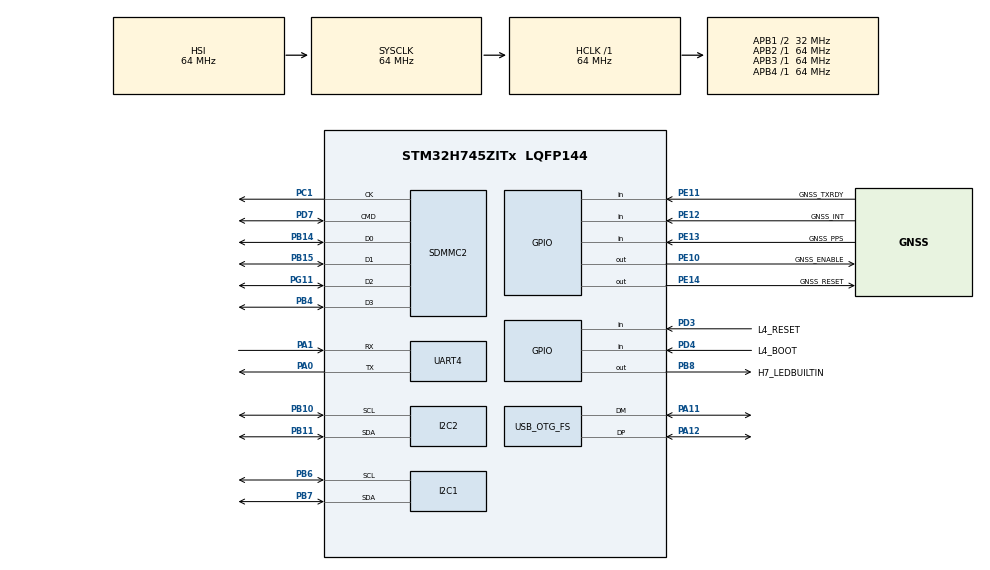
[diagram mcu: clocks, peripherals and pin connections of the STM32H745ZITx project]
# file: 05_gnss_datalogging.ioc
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CORTEX_M7.default_mode_Activation=1
CortexM4.IPs=CORTEX_M4\:I,FATFS_M4\:I,FREERTOS_M4\:I,IWDG2\:I,OPENAMP_M4\:I,PDM2PCM_M4\:I,PWR,RCC,RESMGR_UTILITY,SYS_M4\:I,USB_DEVICE_M4\:I,USB_HOST_M4\:I,VREFBUF,WWDG2\:I,GPIO,DMA,BDMA,MDMA,NVIC2\:I
CortexM7.IPs=CORTEX_M7\:I,FATFS_M7\:I,FREERTOS_M7\:I,IWDG1\:I,OPENAMP_M7\:I,PDM2PCM_M7\:I,PWR\:I,RCC\:I,RESMGR_UTILITY\:I,SYS\:I,USB_DEVICE_M7\:I,USB_HOST_M7\:I,VREFBUF\:I,WWDG1\:I,GPIO\:I,DMA\:I,BDMA\:I,MDMA\:I,NVIC1\:I,DEBUG\:I,I2C1\:I,I2C2\:I,UART4\:I,USB_OTG_FS\:I,SDMMC2\:I
CortexM7.Pins=PE10,PE11,PE12,PE13,PE14,PD3,PD4,PB8
FATFS_M7.USE_DMA_CODE_SD=1
I2C1.Timing=0x00707CBB
I2C2.Timing=0x00707CBB
Mcu.Family=STM32H7
Mcu.Name=STM32H745ZITx
Mcu.Package=LQFP144
NVIC1.OTG_FS_IRQn=true\:0\:0\:false\:false\:true\:false\:true\:true
NVIC1.PriorityGroup=NVIC_PRIORITYGROUP_4
NVIC2.PriorityGroup=NVIC_PRIORITYGROUP_4
PA0.Mode=Asynchronous
PA0.PinAttribute=CortexM7
PA0.Signal=UART4_TX
PA1.Mode=Asynchronous
PA1.PinAttribute=CortexM7
PA1.Signal=UART4_RX
PA11.Mode=Device_Only
PA11.PinAttribute=CortexM7
PA11.Signal=USB_OTG_FS_DM
PA12.Mode=Device_Only
PA12.PinAttribute=CortexM7
PA12.Signal=USB_OTG_FS_DP
PA13\ (JTMS/SWDIO).Mode=Serial_Wire
PA13\ (JTMS/SWDIO).PinAttribute=CortexM7
PA13\ (JTMS/SWDIO).Signal=DEBUG_JTMS-SWDIO
PA14\ (JTCK/SWCLK).Mode=Serial_Wire
PA14\ (JTCK/SWCLK).PinAttribute=CortexM7
PA14\ (JTCK/SWCLK).Signal=DEBUG_JTCK-SWCLK
PB10.Mode=I2C
PB10.PinAttribute=CortexM7
PB10.Signal=I2C2_SCL
PB11.Mode=I2C
PB11.PinAttribute=CortexM7
PB11.Signal=I2C2_SDA
PB14.GPIO_PuPd=GPIO_PULLUP
PB14.Mode=SD_4_bits_Wide_bus
PB14.PinAttribute=CortexM7
PB14.Signal=SDMMC2_D0
PB15.GPIO_PuPd=GPIO_PULLUP
PB15.Mode=SD_4_bits_Wide_bus
PB15.PinAttribute=CortexM7
PB15.Signal=SDMMC2_D1
PB4\ (NJTRST).GPIO_PuPd=GPIO_PULLUP
PB4\ (NJTRST).Mode=SD_4_bits_Wide_bus
PB4\ (NJTRST).PinAttribute=CortexM7
PB4\ (NJTRST).Signal=SDMMC2_D3
PB6.Mode=I2C
PB6.PinAttribute=CortexM7
PB6.Signal=I2C1_SCL
PB7.Mode=I2C
PB7.PinAttribute=CortexM7
PB7.Signal=I2C1_SDA
PB8.GPIO_Label=H7_LEDBUILTIN
PB8.PinAttribute=CortexM7
PB8.PinState=GPIO_PIN_RESET
PB8.Signal=GPIO_Output
PC1.Mode=SD_4_bits_Wide_bus
PC1.PinAttribute=CortexM7
PC1.Signal=SDMMC2_CK
PC14-OSC32_IN\ (OSC32_IN).Mode=LSE-External-Clock-Source
PC14-OSC32_IN\ (OSC32_IN).PinAttribute=Free
PC14-OSC32_IN\ (OSC32_IN).Signal=RCC_OSC32_IN
PD3.GPIO_Label=L4_RESET
PD3.GPIO_PuPd=GPIO_PULLDOWN
PD3.PinAttribute=CortexM7
PD3.Signal=GPIO_Input
PD4.GPIO_Label=L4_BOOT
PD4.GPIO_PuPd=GPIO_NOPULL
PD4.PinAttribute=CortexM7
PD4.Signal=GPIO_Input
PD7.GPIO_PuPd=GPIO_PULLUP
PD7.Mode=SD_4_bits_Wide_bus
PD7.PinAttribute=CortexM7
PD7.Signal=SDMMC2_CMD
PE10.GPIO_Label=GNSS_ENABLE
PE10.PinAttribute=CortexM7
PE10.Signal=GPIO_Output
PE11.GPIO_Label=GNSS_TXRDY
PE11.PinAttribute=CortexM7
PE11.Signal=GPIO_Input
PE12.GPIO_Label=GNSS_INT
PE12.PinAttribute=CortexM7
PE12.Signal=GPIO_Input
PE13.GPIO_Label=GNSS_PPS
PE13.PinAttribute=CortexM7
PE13.Signal=GPIO_Input
PE14.GPIO_Label=GNSS_RESET
PE14.GPIO_PuPd=GPIO_PULLUP
PE14.PinAttribute=CortexM7
PE14.Signal=GPIO_Output
PG11.GPIO_PuPd=GPIO_PULLUP
PG11.Mode=SD_4_bits_Wide_bus
PG11.PinAttribute=CortexM7
PG11.Signal=SDMMC2_D2
PH0-OSC_IN\ (PH0).Mode=HSE-External-Clock-Source
PH0-OSC_IN\ (PH0).PinAttribute=Free
PH0-OSC_IN\ (PH0).Signal=RCC_OSC_IN
ProjectManager.HeapSize=M4-0x200,M7-0x200
ProjectManager.StackSize=M4-0x400,M7-0x400
ProjectManager.TargetToolchain=CMake
RCC.ADCFreq_Value=50390625
RCC.APB1Freq_Value=32000000
RCC.APB2Freq_Value=64000000
RCC.APB3Freq_Value=64000000
RCC.APB4Freq_Value=64000000
RCC.CortexFreq_Value=64000000
RCC.D2PPRE1=RCC_APB1_DIV2
RCC.DIVM1=2
RCC.DIVN1=12
RCC.DIVQ1=3
RCC.HCLKFreq_Value=64000000
RCC.PLL2FRACN=0
RCC.PLL3FRACN=0
RCC.PLLFRACN=0
RCC.SYSCLKFreq_VALUE=64000000
RCC.USBFreq_Value=50000000
SDMMC2.ClockDiv=8
SYS.userName=SYS_M7
USB_DEVICE_M7.CLASS_NAME_FS=CDC
USB_DEVICE_M7.VirtualMode-CDC_FS=Cdc
USB_DEVICE_M7.VirtualModeFS=Cdc_FS
USB_OTG_FS.VirtualMode=Device_Only
VP_FATFS_M7_VS_SDIO.Mode=SDIO
VP_SYS_M4_VS_Systick.Mode=SysTick
VP_USB_DEVICE_M7_VS_USB_DEVICE_CDC_FS.Mode=CDC_FS
board=custom

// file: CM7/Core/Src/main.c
/* USER CODE BEGIN Header */
/**
  ******************************************************************************
  * @file           : main.c
  * @brief          : Main program body
  ******************************************************************************
  * @attention
  *
  * Copyright (c) 2025 STMicroelectronics.
  * All rights reserved.
  *
  * This software is licensed under terms that can be found in the LICENSE file
  * in the root directory of this software component.
  * If no LICENSE file comes with this software, it is provided AS-IS.
  *
  ******************************************************************************
  */
/* USER CODE END Header */
#include "main.h"
#include "fatfs.h"
#include "usb_device.h"

/* USER CODE BEGIN Includes */
#include "usbd_cdc_if.h"
#include "usb2422.h"
#include "usb2422_platform.h"
#include "zedf9p.h"
#include "zedf9p_platform.h"

/* USER CODE END Includes */

/* USER CODE BEGIN PD */

/* DUAL_CORE_BOOT_SYNC_SEQUENCE: Define for dual core boot synchronization    */
/*                             demonstration code based on hardware semaphore */
/* This define is present in both CM7/CM4 projects                            */
/* To comment when developping/debugging on a single core                     */
#define DUAL_CORE_BOOT_SYNC_SEQUENCE

#if defined(DUAL_CORE_BOOT_SYNC_SEQUENCE)
#ifndef HSEM_ID_0
#define HSEM_ID_0 (0U) /* HW semaphore 0*/
#endif
#endif /* DUAL_CORE_BOOT_SYNC_SEQUENCE */

#define LOG_FILENAME_PREFIX "GNSS"
#define LOG_FILENAME_EXTENSION ".ubx"
#define MAX_LOG_FILE_SIZE_MB 100
#define FLUSH_INTERVAL_MS 5000
#define PROCESS_BUFFER_SIZE 1024
#define USB_DEBUG_BUFFER_SIZE 512

#define ZEDF9P_I2C &hi2c2
#define ZEDF9P_UART &huart4

#define USB2422_I2C &hi2c1

/* USER CODE END PD */

/* USER CODE BEGIN PM */
bool zedf9p_use_i2c = false; // Set to false to use UART instead

/* USER CODE END PM */

I2C_HandleTypeDef hi2c1;
I2C_HandleTypeDef hi2c2;

SD_HandleTypeDef hsd2;

UART_HandleTypeDef huart4;

/* USER CODE BEGIN PV */
FIL dataFile;
zedf9p_t gnss_module;

// Buffers
uint8_t process_buffer[PROCESS_BUFFER_SIZE];
char filename[32];
char debug_buffer[USB_DEBUG_BUFFER_SIZE];

// USB instances
usb2422_t usb_hub;

logging_stats_t logging_stats = {0};
gnss_time_t gnss_time = {0};

usb2422_hub_settings_t hub_settings = {0};
usb2422_power_settings_t power_settings = {0};
usb2422_downstream_port_settings_t port_settings = {false};
usb2422_cfg_regs_t config_registers = {0};

/* USER CODE END PV */

void SystemClock_Config(void);
static void MPU_Config(void);
static void MX_GPIO_Init(void);
static void MX_I2C1_Init(void);
static void MX_I2C2_Init(void);
static void MX_SDMMC2_SD_Init(void);
static void MX_UART4_Init(void);

/* USER CODE BEGIN PFP */
uint8_t init_sd_card(void);
uint8_t create_new_log_file(void);
uint8_t recover_sd_card(void);
uint8_t reopen_log_file(void);

void configure_gnss_for_logging(void);
void process_gnss_logging(void);
void print_statistics(void);
// void usb_debug_print(const char *message);
void update_gnss_time_from_timeutc(const zedf9p_nav_timeutc_t *timeutc);

// Message callbacks
void clock_callback(const ubx_message_t *message, void *user_data);
void hpposecef_callback(const ubx_message_t *message, void *user_data);
void hpposllh_callback(const ubx_message_t *message, void *user_data);
void timeutc_callback(const ubx_message_t *message, void *user_data);
void rawx_callback(const ubx_message_t *message, void *user_data);
void sfrbx_callback(const ubx_message_t *message, void *user_data);

/* USER CODE END PFP */

/* USER CODE BEGIN 0 */
uint8_t init_sd_card(void) {
    usb_debug_print("Initializing SD card...\r\n");

    // Multiple hardware initialization attempts
    for (int attempt = 0; attempt < 3; attempt++) {
        HAL_Delay(100 * (attempt + 1)); // Increasing delay between attempts

        snprintf(debug_buffer, sizeof(debug_buffer),
                "SD hardware init attempt %d...\r\n", attempt + 1);
        usb_debug_print(debug_buffer);

        // Try to initialize SD hardware
        const HAL_StatusTypeDef hal_result = HAL_SD_Init(&hsd2);
        if (hal_result != HAL_OK) {
            snprintf(debug_buffer, sizeof(debug_buffer),
                    "HAL_SD_Init failed with code: %d\r\n", hal_result);
            usb_debug_print(debug_buffer);
            continue;
        }

        // Check if card is ready
        const HAL_SD_CardStateTypeDef cardState = HAL_SD_GetCardState(&hsd2);
        snprintf(debug_buffer, sizeof(debug_buffer),
                "SD card state: %lu\r\n", cardState);
        usb_debug_print(debug_buffer);

        if (cardState == HAL_SD_CARD_TRANSFER) {
            usb_debug_print("SD card hardware ready\r\n");
            break;
        }

        if (attempt == 2) {
            usb_debug_print("SD card hardware initialization failed after 3 attempts\r\n");
            return 0;
        }
    }

    // Wait before filesystem operations
    HAL_Delay(500);

    // Try to mount the filesystem
    usb_debug_print("Attempting to mount filesystem...\r\n");
    FRESULT result = f_mount(&SDFatFS, SDPath, 1);

    if (result != FR_OK) {
        snprintf(debug_buffer, sizeof(debug_buffer),
                "Initial SD mount failed: %d\r\n", result);
        usb_debug_print(debug_buffer);

        // Try formatting the card if mount fails
        usb_debug_print("Attempting to format SD card as FAT32...\r\n");
        BYTE work[_MAX_SS]; // Work area for f_mkfs
        result = f_mkfs(SDPath, FM_FAT32, 0, work, sizeof(work));

        if (result == FR_OK) {
            usb_debug_print("SD card formatted successfully\r\n");
            HAL_Delay(100);

            // Try mounting again after format
            result = f_mount(&SDFatFS, SDPath, 1);
            if (result != FR_OK) {
                snprintf(debug_buffer, sizeof(debug_buffer),
                        "Mount failed after format: %d\r\n", result);
                usb_debug_print(debug_buffer);
                return 0;
            }
        } else {
            snprintf(debug_buffer, sizeof(debug_buffer),
                    "Format failed: %d\r\n", result);
            usb_debug_print(debug_buffer);
            return 0;
        }
    }

    usb_debug_print("Filesystem mounted successfully\r\n");

    // Get detailed SD card and filesystem information
    DWORD free_clusters;
    FATFS* fs;
    result = f_getfree(SDPath, &free_clusters, &fs);
    if (result == FR_OK) {
        const DWORD total_clusters = (fs->n_fatent - 2) * fs->csize;
        const uint32_t total_mb = total_clusters / 2048;
        const uint32_t free_mb = free_clusters * fs->csize / 2048;

        snprintf(debug_buffer, sizeof(debug_buffer),
                "SD Card: %lu MB total, %lu MB free\r\n", total_mb, free_mb);
        usb_debug_print(debug_buffer);

        snprintf(debug_buffer, sizeof(debug_buffer),
                "Filesystem: FAT%d, Sector size: %d, Cluster size: %d\r\n",
                fs->fs_type, _MAX_SS, fs->csize * _MAX_SS);
        usb_debug_print(debug_buffer);
    } else {
        snprintf(debug_buffer, sizeof(debug_buffer),
                "Failed to get filesystem info: %d\r\n", result);
        usb_debug_print(debug_buffer);
        return 0;
    }

    logging_stats.sd_card_present = 1;
    usb_debug_print("SD card initialization completed successfully\r\n");
    return 1;
}

uint8_t create_new_log_file(void) {
    if (!logging_stats.sd_card_present) {
        return 0;
    }

    // Close existing file
    if (logging_stats.file_open) {
        f_close(&dataFile);
        logging_stats.file_open = 0;
    }

    // Find next available filename
    FRESULT result;
    do {
        logging_stats.file_number++;
        snprintf(filename, sizeof(filename), "%s%03lu%s",
                LOG_FILENAME_PREFIX, logging_stats.file_number, LOG_FILENAME_EXTENSION);

        // Check if file exists
        result = f_stat(filename, NULL);
    } while (result == FR_OK); // Continue if file exists

    // Create new file
    result = f_open(&dataFile, filename, FA_CREATE_NEW | FA_WRITE);
    if (result != FR_OK) {
        snprintf(debug_buffer, sizeof(debug_buffer),
                "ERROR: Failed to create file %s: %d\r\n", filename, result);
        usb_debug_print(debug_buffer);
        logging_stats.file_open = 0;
        return 0;
    }

    logging_stats.file_open = 1;
    logging_stats.write_errors = 0; // Reset error count on new file

    snprintf(debug_buffer, sizeof(debug_buffer),
            "Created log file: %s\r\n", filename);
    usb_debug_print(debug_buffer);

    return 1;
}

uint8_t recover_sd_card(void) {
    usb_debug_print("Attempting SD card recovery...\r\n");

    logging_stats.recovery_attempts++;

    // Try to unmount and remount the SD card
    f_mount(NULL, SDPath, 0); // Unmount
    HAL_Delay(500); // Wait a bit

    const FRESULT result = f_mount(&SDFatFS, SDPath, 1); // Remount
    if (result != FR_OK) {
        snprintf(debug_buffer, sizeof(debug_buffer),
                "SD card remount failed: %d\r\n", result);
        usb_debug_print(debug_buffer);
        logging_stats.sd_card_present = 0;
        return 0;
    }

    logging_stats.sd_card_present = 1;
    usb_debug_print("SD card recovery successful\r\n");
    return 1;
}

uint8_t reopen_log_file(void) {
    if (!logging_stats.sd_card_present) {
        return 0;
    }

    // Try to reopen the existing file in append mode
    const FRESULT result = f_open(&dataFile, filename, FA_OPEN_APPEND | FA_WRITE);
    if (result == FR_OK) {
        logging_stats.file_open = 1;
        logging_stats.write_errors = 0; // Reset error count
        usb_debug_print("Successfully reopened log file\r\n");
        return 1;
    } else {
        snprintf(debug_buffer, sizeof(debug_buffer),
                "Failed to reopen file %s: %d\r\n", filename, result);
        usb_debug_print(debug_buffer);

        // If we can't reopen, try creating a new file
        return create_new_log_file();
    }
}

void configure_gnss_for_logging(void) {
    usb_debug_print("Configuring GNSS for RAWX, HPPOSLLH, & PVT logging...\r\n");

    // Set measurement rate to 1Hz
    zedf9p_set_measurement_rate(&gnss_module, UBLOX_CFG_LAYER_RAM, 5000, 1);

    // Configure GPS + Galileo for optimal RAWX data
    const zedf9p_gnss_config_t gnss_config = {
        .beidou_enabled = false,
        .beidou_b1_enabled = false,
        .beidou_b2_enabled = false,
        .galileo_enabled = true,
        .galileo_e1_enabled = true,
        .galileo_e5b_enabled = true,
        .glonass_enabled = false,
        .glonass_l1_enabled = false,
        .glonass_l2_enabled = false,
        .gps_enabled = true,
        .gps_l1ca_enabled = true,
        .gps_l2c_enabled = true,
        .qzss_enabled = false,
        .qzss_l1ca_enabled = false,
        .qzss_l1s_enabled = false,
        .qzss_l2c_enabled = false,
        .sbas_enabled = false,
        .sbas_l1ca_enabled = false
    };

    zedf9p_config_gnss_signals(&gnss_module, UBLOX_CFG_LAYER_RAM, &gnss_config);

    // Disable 7F check for RAWX compatibility
    //zedf9p_disable_7f_check(&gnss_module, true);

    // Enable UBX messages we want to log
    zedf9p_set_message_rate(&gnss_module, UBLOX_CFG_LAYER_RAM, UBX_CLASS_NAV, UBX_NAV_CLOCK, 5);        // NAV-CLOCK
    zedf9p_set_message_rate(&gnss_module, UBLOX_CFG_LAYER_RAM, UBX_CLASS_NAV, UBX_NAV_HPPOSECEF, 5);    // NAV-HPPOSECEF
    zedf9p_set_message_rate(&gnss_module, UBLOX_CFG_LAYER_RAM, UBX_CLASS_NAV, UBX_NAV_HPPOSLLH, 5);     // NAV-HPPOSLLH
    zedf9p_set_message_rate(&gnss_module, UBLOX_CFG_LAYER_RAM, UBX_CLASS_NAV, UBX_NAV_TIMEUTC, 5);      // NAV-TIMEUTC
    zedf9p_set_message_rate(&gnss_module, UBLOX_CFG_LAYER_RAM, UBX_CLASS_RXM, UBX_RXM_RAWX, 5);         // RXM-RAWX
    zedf9p_set_message_rate(&gnss_module, UBLOX_CFG_LAYER_RAM, UBX_CLASS_RXM, UBX_RXM_SFRBX, 5);        // RXM-SFRBX

    HAL_Delay(2000); // Wait for configuration to take effect
    usb_debug_print("GNSS configured for RAWX + HPPOSLLH + PVT logging\r\n");
}

void process_gnss_logging(void) {
    if (!logging_stats.logging_active) {
        return;
    }

    // Process incoming GNSS data
    const zedf9p_status_t status = zedf9p_process_data(&gnss_module);
    if (status != ZEDF9P_OK && status != ZEDF9P_ERR_NO_DATA) {
        snprintf(debug_buffer, sizeof(debug_buffer),
                "GNSS processing error: %s\r\n", zedf9p_status_error(status));
        usb_debug_print(debug_buffer);
    }

    // Handle SD card errors and recovery
    if (logging_stats.write_errors > 3) {  // Lower threshold for quicker recovery
        usb_debug_print("Multiple write errors detected, attempting recovery...\r\n");

        // First try to reopen the file
        if (!reopen_log_file()) {
            // If that fails, try SD card recovery
            if (recover_sd_card()) {
                if (!reopen_log_file()) {
                    // Last resort - create new file
                    create_new_log_file();
                }
            } else {
                // SD card recovery failed, pause logging temporarily
                logging_stats.logging_active = 0;
                usb_debug_print("SD card recovery failed, logging paused\r\n");
                return;
            }
        }
    }

    // Try to restart logging if it was paused due to SD card issues
    if (!logging_stats.logging_active && logging_stats.recovery_attempts < 10) {
        if (recover_sd_card() && create_new_log_file()) {
            logging_stats.logging_active = 1;
            usb_debug_print("Logging resumed after recovery\r\n");
        }
    }

    // Check file size limit and rotate if needed
    if (logging_stats.sd_card_present && logging_stats.file_open &&
        f_size(&dataFile) > (MAX_LOG_FILE_SIZE_MB * 1024UL * 1024UL)) {

        snprintf(debug_buffer, sizeof(debug_buffer),
                "File size limit reached, creating new file...\r\n");
        usb_debug_print(debug_buffer);

        if (logging_stats.file_open) {
            f_close(&dataFile);
            logging_stats.file_open = 0;
        }

        if (!create_new_log_file()) {
            usb_debug_print("ERROR: Failed to create new log file\r\n");
            logging_stats.logging_active = 0;
        }
    }
}

// Generic function to write any UBX message to file
void write_ubx_message_to_file(const ubx_message_t *message) {
    if (!logging_stats.sd_card_present || !logging_stats.logging_active || !logging_stats.file_open) {
        return;
    }

    // Build complete UBX message with header and checksum
    uint8_t ubx_header[6];
    ubx_header[0] = 0xB5; // UBX_SYNCH_1
    ubx_header[1] = 0x62; // UBX_SYNCH_2
    ubx_header[2] = message->msg_class;
    ubx_header[3] = message->msg_id;
    ubx_header[4] = (uint8_t)(message->length & 0xFF);
    ubx_header[5] = (uint8_t)((message->length >> 8) & 0xFF);

    // Calculate checksum for the complete message
    uint8_t ck_a = 0, ck_b = 0;
    for (int i = 2; i < 6; i++) { // Class, ID, Length
        ck_a += ubx_header[i];
        ck_b += ck_a;
    }
    for (uint16_t i = 0; i < message->length; i++) { // Payload
        ck_a += message->payload[i];
        ck_b += ck_a;
    }

    const uint8_t checksum[2] = {ck_a, ck_b};

    // Write header
    UINT bytes_written;
    FRESULT result = f_write(&dataFile, ubx_header, 6, &bytes_written);
    if (result != FR_OK || bytes_written != 6) {
        logging_stats.write_errors++;
        return;
    }

    // Write payload
    if (message->length > 0) {
        result = f_write(&dataFile, message->payload, message->length, &bytes_written);
        if (result != FR_OK || bytes_written != message->length) {
            logging_stats.write_errors++;
            return;
        }
    }

    // Write checksum
    result = f_write(&dataFile, checksum, 2, &bytes_written);
    if (result != FR_OK || bytes_written != 2) {
        logging_stats.write_errors++;
        return;
    }

    // Update statistics
    logging_stats.bytes_logged += 6 + message->length + 2; // Header + payload + checksum
    logging_stats.messages_logged++;

    // Reset write error count on successful write
    if (logging_stats.write_errors > 0) {
        logging_stats.write_errors = 0;
    }
}

// Message callback implementations
void clock_callback(const ubx_message_t *message, void *user_data) {
    (void)user_data; // Unused parameter

    write_ubx_message_to_file(message);
    logging_stats.clock_count++;

    // Optional: Print some debug info about the clock message
    if (logging_stats.usb_ready && message->length >= sizeof(zedf9p_nav_clock_t)) {
        zedf9p_nav_clock_t clock;
        memcpy(&clock, message->payload, sizeof(zedf9p_nav_clock_t));

        snprintf(debug_buffer, sizeof(debug_buffer),
                "CLOCK: iTOW=%lu ClkB=%ld ClkD=%ld TAcc=%lu\r\n",
                clock.i_tow, clock.clk_b, clock.clk_d, clock.t_acc);
        usb_debug_print(debug_buffer);
    }
}

void hpposecef_callback(const ubx_message_t *message, void *user_data) {
    (void)user_data; // Unused parameter

    write_ubx_message_to_file(message);
    logging_stats.hpposecef_count++;

    // Optional: Print some debug info
    if (logging_stats.usb_ready && message->length >= sizeof(zedf9p_nav_hpposecef_t)) {
        zedf9p_nav_hpposecef_t hppos;
        memcpy(&hppos, message->payload, sizeof(zedf9p_nav_hpposecef_t));

        snprintf(debug_buffer, sizeof(debug_buffer),
                "HPPOSECEF: iTOW=%lu X=%ld Y=%ld Z=%ld PAcc=%lu\r\n",
                hppos.i_tow, hppos.ecef_x, hppos.ecef_y, hppos.ecef_z, hppos.p_acc);
        usb_debug_print(debug_buffer);
    }
}

void hpposllh_callback(const ubx_message_t *message, void *user_data) {
    (void)user_data; // Unused parameter

    write_ubx_message_to_file(message);
    logging_stats.hpposllh_count++;
}

void timeutc_callback(const ubx_message_t *message, void *user_data) {
    (void)user_data; // Unused parameter

    write_ubx_message_to_file(message);
    logging_stats.timeutc_count++;

    // Update GNSS time from this message
    if (message->length >= sizeof(zedf9p_nav_timeutc_t)) {
        zedf9p_nav_timeutc_t timeutc;
        memcpy(&timeutc, message->payload, sizeof(zedf9p_nav_timeutc_t));
        update_gnss_time_from_timeutc(&timeutc);
    }
}

void rawx_callback(const ubx_message_t *message, void *user_data) {
    (void)user_data; // Unused parameter

    write_ubx_message_to_file(message);
    logging_stats.rawx_count++;

    // Optional: Print debug info about RAWX message
    if (logging_stats.usb_ready && message->length >= 16) {
        zedf9p_rawx_t rawx;
        memcpy(&rawx, message->payload, sizeof(zedf9p_rawx_t));

        // Print header information
        snprintf(debug_buffer, sizeof(debug_buffer),
                "RAWX: rcTow=%.3f week=%u numMeas=%u recStat=0x%02X\r\n",
                rawx.rc_tow, rawx.week, rawx.num_meas, rawx.rec_stat);
        usb_debug_print(debug_buffer);

        // Print first few satellite measurements as examples (limit to 3 to avoid flooding)
        const uint8_t num_to_print = (rawx.num_meas < 3) ? rawx.num_meas : 3;
        for (uint8_t i = 0; i < num_to_print; i++) {
            const zedf9p_rawx_meas_t *meas = &rawx.meas[i];

            // Determine GNSS system name
            const char* gnss_name = "UNK";
            switch (meas->gnss_id) {
            case 0: gnss_name = "GPS"; break;
            case 1: gnss_name = "SBA"; break;
            case 2: gnss_name = "GAL"; break;
            case 3: gnss_name = "BDS"; break;
            case 5: gnss_name = "QZS"; break;
            case 6: gnss_name = "GLO"; break;
            }

            snprintf(debug_buffer, sizeof(debug_buffer),
                    "  [%u] %s SV=%u sig=%u PR=%.3fm CP=%.3fcyc Dopp=%.2fHz CNO=%udBHz LT=%ums\r\n",
                    i, gnss_name, meas->sv_id, meas->sig_id,
                    meas->pr_mes, meas->cp_mes, meas->do_mes,
                    meas->cno, meas->lock_time);
            usb_debug_print(debug_buffer);
        }

        // If there are more measurements, indicate how many were skipped
        if (rawx.num_meas > num_to_print) {
            snprintf(debug_buffer, sizeof(debug_buffer),
                    "  ... (%u more measurements)\r\n", rawx.num_meas - num_to_print);
            usb_debug_print(debug_buffer);
        }
    }
}

void sfrbx_callback(const ubx_message_t *message, void *user_data) {
    (void)user_data; // Unused parameter

    write_ubx_message_to_file(message);
    logging_stats.sfrbx_count++;

    // // Optional: Print some debug info about SFRBX
    // if (logging_stats.usb_ready && message->length >= sizeof(zedf9p_sfrbx_t)) {
    //     zedf9p_sfrbx_t sfrbx;
    //     memcpy(&sfrbx, message->payload, sizeof(zedf9p_sfrbx_t));
    //
    //     snprintf(debug_buffer, sizeof(debug_buffer),
    //             "SFRBX: GNSS=%d SV=%d NumWords=%d Chn=%d\r\n",
    //             sfrbx.gnss_id, sfrbx.sv_id, sfrbx.num_words, sfrbx.chn);
    //     usb_debug_print(debug_buffer);
    // }
}

void usb_debug_print(const char* message) {
    if (logging_stats.usb_ready && message != NULL) {
        const uint16_t len = strlen(message);
        if (len > 0) {
            // Use CDC_Transmit_FS function to send data via USB CDC
            CDC_Transmit_FS((uint8_t*)message, len);

            // Small delay to prevent overwhelming USB
            HAL_Delay(1);
        }
    }
}

void print_statistics(void) {
    const uint32_t uptime_s = (HAL_GetTick() - logging_stats.session_start_ms) / 1000;
    uint32_t data_rate = 0;

    if (uptime_s > 0) {
        data_rate = logging_stats.bytes_logged / uptime_s;
    }

    snprintf(debug_buffer, sizeof(debug_buffer),
            "Stats: Up=%lus Rate=%luB/s Msgs=%lu CLK=%lu HPECEF=%lu HPLLH=%lu UTC=%lu RAWX=%lu SFRBX=%lu Bytes=%lu Err=%lu\r\n",
            uptime_s, data_rate, logging_stats.messages_logged,
            logging_stats.clock_count, logging_stats.hpposecef_count,
            logging_stats.hpposllh_count, logging_stats.timeutc_count,
            logging_stats.rawx_count, logging_stats.sfrbx_count,
            logging_stats.bytes_logged, logging_stats.write_errors);
    usb_debug_print(debug_buffer);

    // Print GNSS time if available
    if (gnss_time.time_available) {
        snprintf(debug_buffer, sizeof(debug_buffer),
                "GNSS Time: %04d-%02d-%02d %02d:%02d:%02d UTC (iTOW: %lu ms)\r\n",
                gnss_time.year, gnss_time.month, gnss_time.day,
                gnss_time.hour, gnss_time.min, gnss_time.sec, gnss_time.i_tow);
        usb_debug_print(debug_buffer);
    }
}

void update_gnss_time_from_timeutc(const zedf9p_nav_timeutc_t *timeutc) {
    if (!timeutc) return;

    gnss_time.i_tow = timeutc->i_tow;
    gnss_time.year = timeutc->year;
    gnss_time.month = timeutc->month;
    gnss_time.day = timeutc->day;
    gnss_time.hour = timeutc->hour;
    gnss_time.min = timeutc->min;
    gnss_time.sec = timeutc->sec;
    gnss_time.valid = timeutc->valid;
    gnss_time.time_available = 1;
}
/* USER CODE END 0 */

int main(void)
{

    /* USER CODE BEGIN Boot_Mode_Sequence_0 */
    #if defined(DUAL_CORE_BOOT_SYNC_SEQUENCE)
      int32_t timeout;
    #endif /* DUAL_CORE_BOOT_SYNC_SEQUENCE */
    /* USER CODE END Boot_Mode_Sequence_0 */

      /* MPU Configuration--------------------------------------------------------*/
      MPU_Config();

    /* USER CODE BEGIN Boot_Mode_Sequence_1 */
    #if defined(DUAL_CORE_BOOT_SYNC_SEQUENCE)
      /* Wait until CPU2 boots and enters in stop mode or timeout*/
      timeout = 0xFFFF;
      while((__HAL_RCC_GET_FLAG(RCC_FLAG_D2CKRDY) != RESET) && (timeout-- > 0));
      if ( timeout < 0 )
      {
      Error_Handler();
      }
    #endif /* DUAL_CORE_BOOT_SYNC_SEQUENCE */
    /* USER CODE END Boot_Mode_Sequence_1 */
      /* MCU Configuration--------------------------------------------------------*/

      /* Reset of all peripherals, Initializes the Flash interface and the Systick. */
      HAL_Init();

      /* Configure the system clock */
      SystemClock_Config();
    /* USER CODE BEGIN Boot_Mode_Sequence_2 */
    #if defined(DUAL_CORE_BOOT_SYNC_SEQUENCE)
    /* When system initialization is finished, Cortex-M7 will release Cortex-M4 by means of
    HSEM notification */
    /*HW semaphore Clock enable*/
    __HAL_RCC_HSEM_CLK_ENABLE();
    /*Take HSEM */
    HAL_HSEM_FastTake(HSEM_ID_0);
    /*Release HSEM in order to notify the CPU2(CM4)*/
    HAL_HSEM_Release(HSEM_ID_0,0);
    /* wait until CPU2 wakes up from stop mode */
    timeout = 0xFFFF;
    while((__HAL_RCC_GET_FLAG(RCC_FLAG_D2CKRDY) == RESET) && (timeout-- > 0));
    if ( timeout < 0 )
    {
    Error_Handler();
    }
    #endif /* DUAL_CORE_BOOT_SYNC_SEQUENCE */
    /* USER CODE END Boot_Mode_Sequence_2 */

    /* Initialize all configured peripherals */
    MX_GPIO_Init();
    MX_I2C1_Init();
    MX_I2C2_Init();
    MX_SDMMC2_SD_Init();
    MX_UART4_Init();
    MX_FATFS_Init();
    MX_USB_DEVICE_Init();

    /* USER CODE BEGIN 2 */
    HAL_GPIO_WritePin(L4_RESET_GPIO_Port, L4_RESET_Pin, GPIO_PIN_RESET); // Set pin low to make sure the reset line stays high
    HAL_GPIO_WritePin(H7_LEDBUILTIN_GPIO_Port, H7_LEDBUILTIN_Pin, GPIO_PIN_SET); // LED on
    HAL_Delay(5000);
    //HAL_GPIO_WritePin(GNSS_ENABLE_GPIO_Port, GNSS_ENABLE_Pin, GPIO_PIN_SET); // Turn on the GNSS load switch

    // Initialize USB hub
    usb2422_platform_set_i2c_handle(USB2422_I2C);

    const usb2422_interface_t io_usb = {
        .i2c_write = platform_i2c_write,
        .i2c_read = platform_i2c_read_reg,
        .delay_ms = platform_delay_ms,
    };

    usb2422_status_t status_usb = usb2422_init(&usb_hub, USB2422_SMBUS_ADDRESS, io_usb);
    if (status_usb != USB2422_OK) {
        while(1) {
            HAL_GPIO_TogglePin(H7_LEDBUILTIN_GPIO_Port, H7_LEDBUILTIN_Pin);
            HAL_Delay(100);
        }
    }

    status_usb = configure_usb2422_for_enumeration(&usb_hub);
    if (status_usb != USB2422_OK) {
        while(1) {
            HAL_GPIO_TogglePin(H7_LEDBUILTIN_GPIO_Port, H7_LEDBUILTIN_Pin);
            HAL_Delay(100);
        }
    }

    status_usb = usb2422_usb_attach_and_protect(&usb_hub, &hub_settings);
    if (status_usb != USB2422_OK) {
        while(1) {
            HAL_GPIO_TogglePin(H7_LEDBUILTIN_GPIO_Port, H7_LEDBUILTIN_Pin);
            HAL_Delay(100);
        }
    }

    logging_stats.usb_ready = 1;

    HAL_Delay(5000);

    usb_debug_print("ZEDF9P GNSS Data Logger\r\n");
    usb_debug_print("=======================\r\n");

    // Initialize SD card with FatFS
    if (!init_sd_card()) {
        usb_debug_print("FATAL: SD card initialization failed!\r\n");
        while(1) {
            HAL_GPIO_TogglePin(H7_LEDBUILTIN_GPIO_Port, H7_LEDBUILTIN_Pin);
            HAL_Delay(500);
        }
    }

    // Initialize GNSS module
    zedf9p_status_t status;
    if (zedf9p_use_i2c) {
        zedf9p_platform_set_i2c_handle(ZEDF9P_I2C);

        const zedf9p_interface_t io = {
            .i2c_write = platform_i2c_write,
            .i2c_read = platform_i2c_read,
            .uart_write = NULL,
            .uart_read = NULL,
            .delay_ms = platform_delay_ms,
            .get_millis = platform_get_millis,
            .debug_print = NULL
        };

        status = zedf9p_init(&gnss_module, ZEDF9P_INTERFACE_I2C, 0x42, io);
        if (status != ZEDF9P_OK) {
            snprintf(debug_buffer, sizeof(debug_buffer),
                    "FATAL: GNSS init failed: %s\r\n", zedf9p_status_error(status));
            usb_debug_print(debug_buffer);
            while(1) {
                HAL_GPIO_TogglePin(H7_LEDBUILTIN_GPIO_Port, H7_LEDBUILTIN_Pin);
                HAL_Delay(100);
            }
        }
    } else {
        zedf9p_platform_set_uart_handle(ZEDF9P_UART);

        const zedf9p_interface_t io = {
            .i2c_write = NULL,
            .i2c_read = NULL,
            .uart_write = platform_uart_write,
            .uart_read = platform_uart_read,
            .delay_ms = platform_delay_ms,
            .get_millis = platform_get_millis,
            .debug_print = NULL
        };

        status = zedf9p_init(&gnss_module, ZEDF9P_INTERFACE_UART, 0, io);
    }

    if (status != ZEDF9P_OK) {
        snprintf(debug_buffer, sizeof(debug_buffer),
                "FATAL: GNSS init failed: %s\r\n", zedf9p_status_error(status));
        usb_debug_print(debug_buffer);
        while(1) {
            HAL_GPIO_TogglePin(H7_LEDBUILTIN_GPIO_Port, H7_LEDBUILTIN_Pin);
            HAL_Delay(100);
        }
    }

    usb_debug_print("GNSS module initialized successfully\r\n");

    // Configure GNSS for logging
    configure_gnss_for_logging();

    // Create initial log file
    if (!create_new_log_file()) {
        usb_debug_print("FATAL: Failed to create log file!\r\n");
        while(1) {
            HAL_GPIO_TogglePin(H7_LEDBUILTIN_GPIO_Port, H7_LEDBUILTIN_Pin);
            HAL_Delay(100);
        }
    }

    // Register message callbacks
    zedf9p_register_clock_callback(&gnss_module, clock_callback, NULL);
    zedf9p_register_hpposecef_callback(&gnss_module, hpposecef_callback, NULL);
    zedf9p_register_hpposllh_callback(&gnss_module, hpposllh_callback, NULL);
    zedf9p_register_timeutc_callback(&gnss_module, timeutc_callback, NULL);
    zedf9p_register_rawx_callback(&gnss_module, rawx_callback, NULL);
    zedf9p_register_sfrbx_callback(&gnss_module, sfrbx_callback, NULL);

    // Initialize logging
    logging_stats.session_start_ms = HAL_GetTick();
    logging_stats.last_flush_ms = HAL_GetTick();
    logging_stats.last_stats_ms = HAL_GetTick();
    logging_stats.logging_active = 1;
    logging_stats.file_open = 1;

    usb_debug_print("Logging started!\r\n");
    usb_debug_print("================\r\n");

    HAL_GPIO_WritePin(H7_LEDBUILTIN_GPIO_Port, H7_LEDBUILTIN_Pin, GPIO_PIN_RESET);

    /* USER CODE END 2 */

    /* Infinite loop */
    while (1)
    {
        // Process GNSS data
        process_gnss_logging();

        // Print statistics every 10 seconds
        if (HAL_GetTick() - logging_stats.last_stats_ms > 10000) {
            print_statistics();
            HAL_GPIO_TogglePin(H7_LEDBUILTIN_GPIO_Port, H7_LEDBUILTIN_Pin); // Blink LED
            logging_stats.last_stats_ms = HAL_GetTick();
        }

        // Periodic flush
        if (HAL_GetTick() - logging_stats.last_flush_ms > FLUSH_INTERVAL_MS) {
            if (logging_stats.sd_card_present && logging_stats.logging_active && logging_stats.file_open) {
                const FRESULT flush_result = f_sync(&dataFile);
                if (flush_result != FR_OK) {
                    snprintf(debug_buffer, sizeof(debug_buffer),
                            "File sync error: %d\r\n", flush_result);
                    usb_debug_print(debug_buffer);
                    logging_stats.write_errors++;
                } else {
                    logging_stats.last_flush_ms = HAL_GetTick();
                }
            }
        }

        // Small delay to prevent overwhelming the system
        HAL_Delay(1);
    }
}

void SystemClock_Config(void)
{
  RCC_OscInitTypeDef RCC_OscInitStruct = {0};
  RCC_ClkInitTypeDef RCC_ClkInitStruct = {0};

  /** Supply configuration update enable
  */
  HAL_PWREx_ConfigSupply(PWR_DIRECT_SMPS_SUPPLY);

  /** Configure the main internal regulator output voltage
  */
  __HAL_PWR_VOLTAGESCALING_CONFIG(PWR_REGULATOR_VOLTAGE_SCALE3);

  while(!__HAL_PWR_GET_FLAG(PWR_FLAG_VOSRDY)) {}

  /** Initializes the RCC Oscillators according to the specified parameters
  * in the RCC_OscInitTypeDef structure.
  */
  RCC_OscInitStruct.OscillatorType = RCC_OSCILLATORTYPE_HSI|RCC_OSCILLATORTYPE_HSE;
  RCC_OscInitStruct.HSEState = RCC_HSE_BYPASS;
  RCC_OscInitStruct.HSIState = RCC_HSI_DIV1;
  RCC_OscInitStruct.HSICalibrationValue = RCC_HSICALIBRATION_DEFAULT;
  RCC_OscInitStruct.PLL.PLLState = RCC_PLL_ON;
  RCC_OscInitStruct.PLL.PLLSource = RCC_PLLSOURCE_HSE;
  RCC_OscInitStruct.PLL.PLLM = 2;
  RCC_OscInitStruct.PLL.PLLN = 12;
  RCC_OscInitStruct.PLL.PLLP = 2;
  RCC_OscInitStruct.PLL.PLLQ = 3;
  RCC_OscInitStruct.PLL.PLLR = 2;
  RCC_OscInitStruct.PLL.PLLRGE = RCC_PLL1VCIRANGE_3;
  RCC_OscInitStruct.PLL.PLLVCOSEL = RCC_PLL1VCOMEDIUM;
  RCC_OscInitStruct.PLL.PLLFRACN = 0;
  if (HAL_RCC_OscConfig(&RCC_OscInitStruct) != HAL_OK)
  {
    Error_Handler();
  }

  /** Initializes the CPU, AHB and APB buses clocks
  */
  RCC_ClkInitStruct.ClockType = RCC_CLOCKTYPE_HCLK|RCC_CLOCKTYPE_SYSCLK
                              |RCC_CLOCKTYPE_PCLK1|RCC_CLOCKTYPE_PCLK2
                              |RCC_CLOCKTYPE_D3PCLK1|RCC_CLOCKTYPE_D1PCLK1;
  RCC_ClkInitStruct.SYSCLKSource = RCC_SYSCLKSOURCE_HSI;
  RCC_ClkInitStruct.SYSCLKDivider = RCC_SYSCLK_DIV1;
  RCC_ClkInitStruct.AHBCLKDivider = RCC_HCLK_DIV1;
  RCC_ClkInitStruct.APB3CLKDivider = RCC_APB3_DIV1;
  RCC_ClkInitStruct.APB1CLKDivider = RCC_APB1_DIV2;
  RCC_ClkInitStruct.APB2CLKDivider = RCC_APB2_DIV1;
  RCC_ClkInitStruct.APB4CLKDivider = RCC_APB4_DIV1;

  if (HAL_RCC_ClockConfig(&RCC_ClkInitStruct, FLASH_LATENCY_1) != HAL_OK)
  {
    Error_Handler();
  }
}

static void MX_I2C1_Init(void)
{

  hi2c1.Instance = I2C1;
  hi2c1.Init.Timing = 0x00707CBB;
  hi2c1.Init.OwnAddress1 = 0;
  hi2c1.Init.AddressingMode = I2C_ADDRESSINGMODE_7BIT;
  hi2c1.Init.DualAddressMode = I2C_DUALADDRESS_DISABLE;
  hi2c1.Init.OwnAddress2 = 0;
  hi2c1.Init.OwnAddress2Masks = I2C_OA2_NOMASK;
  hi2c1.Init.GeneralCallMode = I2C_GENERALCALL_DISABLE;
  hi2c1.Init.NoStretchMode = I2C_NOSTRETCH_DISABLE;
  if (HAL_I2C_Init(&hi2c1) != HAL_OK)
  {
    Error_Handler();
  }

  /** Configure Analogue filter
  */
  if (HAL_I2CEx_ConfigAnalogFilter(&hi2c1, I2C_ANALOGFILTER_ENABLE) != HAL_OK)
  {
    Error_Handler();
  }

  /** Configure Digital filter
  */
  if (HAL_I2CEx_ConfigDigitalFilter(&hi2c1, 0) != HAL_OK)
  {
    Error_Handler();
  }

}

static void MX_I2C2_Init(void)
{

  hi2c2.Instance = I2C2;
  hi2c2.Init.Timing = 0x00707CBB;
  hi2c2.Init.OwnAddress1 = 0;
  hi2c2.Init.AddressingMode = I2C_ADDRESSINGMODE_7BIT;
  hi2c2.Init.DualAddressMode = I2C_DUALADDRESS_DISABLE;
  hi2c2.Init.OwnAddress2 = 0;
  hi2c2.Init.OwnAddress2Masks = I2C_OA2_NOMASK;
  hi2c2.Init.GeneralCallMode = I2C_GENERALCALL_DISABLE;
  hi2c2.Init.NoStretchMode = I2C_NOSTRETCH_DISABLE;
  if (HAL_I2C_Init(&hi2c2) != HAL_OK)
  {
    Error_Handler();
  }

  /** Configure Analogue filter
  */
  if (HAL_I2CEx_ConfigAnalogFilter(&hi2c2, I2C_ANALOGFILTER_ENABLE) != HAL_OK)
  {
    Error_Handler();
  }

  /** Configure Digital filter
  */
  if (HAL_I2CEx_ConfigDigitalFilter(&hi2c2, 0) != HAL_OK)
  {
    Error_Handler();
  }

}

static void MX_SDMMC2_SD_Init(void)
{

  hsd2.Instance = SDMMC2;
  hsd2.Init.ClockEdge = SDMMC_CLOCK_EDGE_RISING;
  hsd2.Init.ClockPowerSave = SDMMC_CLOCK_POWER_SAVE_DISABLE;
  hsd2.Init.BusWide = SDMMC_BUS_WIDE_4B;
  hsd2.Init.HardwareFlowControl = SDMMC_HARDWARE_FLOW_CONTROL_DISABLE;
  hsd2.Init.ClockDiv = 8;
  if (HAL_SD_Init(&hsd2) != HAL_OK)
  {
    Error_Handler();
  }

}

static void MX_UART4_Init(void)
{

  huart4.Instance = UART4;
  huart4.Init.BaudRate = 115200;
  huart4.Init.WordLength = UART_WORDLENGTH_8B;
  huart4.Init.StopBits = UART_STOPBITS_1;
  huart4.Init.Parity = UART_PARITY_NONE;
  huart4.Init.Mode = UART_MODE_TX_RX;
  huart4.Init.HwFlowCtl = UART_HWCONTROL_NONE;
  huart4.Init.OverSampling = UART_OVERSAMPLING_16;
  huart4.Init.OneBitSampling = UART_ONE_BIT_SAMPLE_DISABLE;
  huart4.Init.ClockPrescaler = UART_PRESCALER_DIV1;
  huart4.AdvancedInit.AdvFeatureInit = UART_ADVFEATURE_NO_INIT;
  if (HAL_UART_Init(&huart4) != HAL_OK)
  {
    Error_Handler();
  }
  if (HAL_UARTEx_SetTxFifoThreshold(&huart4, UART_TXFIFO_THRESHOLD_1_8) != HAL_OK)
  {
    Error_Handler();
  }
  if (HAL_UARTEx_SetRxFifoThreshold(&huart4, UART_RXFIFO_THRESHOLD_1_8) != HAL_OK)
  {
    Error_Handler();
  }
  if (HAL_UARTEx_DisableFifoMode(&huart4) != HAL_OK)
  {
    Error_Handler();
  }

}

static void MX_GPIO_Init(void)
{
  GPIO_InitTypeDef GPIO_InitStruct = {0};

  /* GPIO Ports Clock Enable */
  __HAL_RCC_GPIOC_CLK_ENABLE();
  __HAL_RCC_GPIOA_CLK_ENABLE();
  __HAL_RCC_GPIOE_CLK_ENABLE();
  __HAL_RCC_GPIOB_CLK_ENABLE();
  __HAL_RCC_GPIOD_CLK_ENABLE();
  __HAL_RCC_GPIOG_CLK_ENABLE();

  /*Configure GPIO pin Output Level */
  HAL_GPIO_WritePin(GPIOE, GNSS_ENABLE_Pin|GNSS_RESET_Pin, GPIO_PIN_RESET);

  /*Configure GPIO pin Output Level */
  HAL_GPIO_WritePin(H7_LEDBUILTIN_GPIO_Port, H7_LEDBUILTIN_Pin, GPIO_PIN_RESET);

  /*Configure GPIO pin : GNSS_ENABLE_Pin */
  GPIO_InitStruct.Pin = GNSS_ENABLE_Pin;
  GPIO_InitStruct.Mode = GPIO_MODE_OUTPUT_PP;
  GPIO_InitStruct.Pull = GPIO_NOPULL;
  GPIO_InitStruct.Speed = GPIO_SPEED_FREQ_LOW;
  HAL_GPIO_Init(GNSS_ENABLE_GPIO_Port, &GPIO_InitStruct);

  /*Configure GPIO pins : GNSS_TXRDY_Pin GNSS_INT_Pin GNSS_PPS_Pin */
  GPIO_InitStruct.Pin = GNSS_TXRDY_Pin|GNSS_INT_Pin|GNSS_PPS_Pin;
  GPIO_InitStruct.Mode = GPIO_MODE_INPUT;
  GPIO_InitStruct.Pull = GPIO_NOPULL;
  HAL_GPIO_Init(GPIOE, &GPIO_InitStruct);

  /*Configure GPIO pin : GNSS_RESET_Pin */
  GPIO_InitStruct.Pin = GNSS_RESET_Pin;
  GPIO_InitStruct.Mode = GPIO_MODE_OUTPUT_PP;
  GPIO_InitStruct.Pull = GPIO_PULLUP;
  GPIO_InitStruct.Speed = GPIO_SPEED_FREQ_LOW;
  HAL_GPIO_Init(GNSS_RESET_GPIO_Port, &GPIO_InitStruct);

  /*Configure GPIO pin : L4_RESET_Pin */
  GPIO_InitStruct.Pin = L4_RESET_Pin;
  GPIO_InitStruct.Mode = GPIO_MODE_INPUT;
  GPIO_InitStruct.Pull = GPIO_PULLDOWN;
  HAL_GPIO_Init(L4_RESET_GPIO_Port, &GPIO_InitStruct);

  /*Configure GPIO pin : L4_BOOT_Pin */
  GPIO_InitStruct.Pin = L4_BOOT_Pin;
  GPIO_InitStruct.Mode = GPIO_MODE_INPUT;
  GPIO_InitStruct.Pull = GPIO_NOPULL;
  HAL_GPIO_Init(L4_BOOT_GPIO_Port, &GPIO_InitStruct);

  /*Configure GPIO pin : H7_LEDBUILTIN_Pin */
  GPIO_InitStruct.Pin = H7_LEDBUILTIN_Pin;
  GPIO_InitStruct.Mode = GPIO_MODE_OUTPUT_PP;
  GPIO_InitStruct.Pull = GPIO_NOPULL;
  GPIO_InitStruct.Speed = GPIO_SPEED_FREQ_LOW;
  HAL_GPIO_Init(H7_LEDBUILTIN_GPIO_Port, &GPIO_InitStruct);

}

 /* MPU Configuration */

void MPU_Config(void)
{
  MPU_Region_InitTypeDef MPU_InitStruct = {0};

  /* Disables the MPU */
  HAL_MPU_Disable();

  /** Initializes and configures the Region and the memory to be protected
  */
  MPU_InitStruct.Enable = MPU_REGION_ENABLE;
  MPU_InitStruct.Number = MPU_REGION_NUMBER0;
  MPU_InitStruct.BaseAddress = 0x0;
  MPU_InitStruct.Size = MPU_REGION_SIZE_4GB;
  MPU_InitStruct.SubRegionDisable = 0x87;
  MPU_InitStruct.TypeExtField = MPU_TEX_LEVEL0;
  MPU_InitStruct.AccessPermission = MPU_REGION_NO_ACCESS;
  MPU_InitStruct.DisableExec = MPU_INSTRUCTION_ACCESS_DISABLE;
  MPU_InitStruct.IsShareable = MPU_ACCESS_SHAREABLE;
  MPU_InitStruct.IsCacheable = MPU_ACCESS_NOT_CACHEABLE;
  MPU_InitStruct.IsBufferable = MPU_ACCESS_NOT_BUFFERABLE;

  HAL_MPU_ConfigRegion(&MPU_InitStruct);
  /* Enables the MPU */
  HAL_MPU_Enable(MPU_PRIVILEGED_DEFAULT);

}

void Error_Handler(void)
{
  __disable_irq();
  while (1)
  {
  }
}
